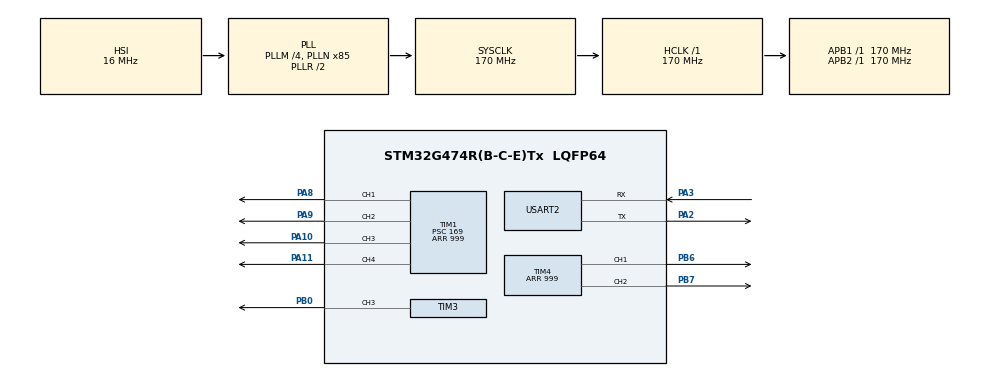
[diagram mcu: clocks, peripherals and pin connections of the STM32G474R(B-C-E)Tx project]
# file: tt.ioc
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Mcu.Family=STM32G4
Mcu.Name=STM32G474R(B-C-E)Tx
Mcu.Package=LQFP64
NVIC.PriorityGroup=NVIC_PRIORITYGROUP_4
NVIC.USART2_IRQn=true\:0\:0\:false\:false\:true\:true\:true\:true
PA10.Signal=S_TIM1_CH3
PA11.Signal=S_TIM1_CH4
PA13.GPIO_Label=T_SWDIO
PA13.Signal=SYS_JTMS-SWDIO
PA14.GPIO_Label=T_SWCLK
PA14.Signal=SYS_JTCK-SWCLK
PA2.Mode=Asynchronous
PA2.Signal=USART2_TX
PA3.Mode=Asynchronous
PA3.Signal=USART2_RX
PA8.Signal=S_TIM1_CH1
PA9.Signal=S_TIM1_CH2
PB0.Signal=S_TIM3_CH3
PB3.GPIO_Label=T_SWO
PB3.Signal=SYS_JTDO-SWO
PB6.Signal=S_TIM4_CH1
PB7.Signal=S_TIM4_CH2
PC14-OSC32_IN.GPIO_Label=RCC_OSC32_IN
PC14-OSC32_IN.Signal=RCC_OSC32_IN
PC15-OSC32_OUT.GPIO_Label=RCC_OSC32_OUT
PC15-OSC32_OUT.Signal=RCC_OSC32_OUT
PF0-OSC_IN.GPIO_Label=RCC_OSC_IN
PF0-OSC_IN.Mode=HSE-External-Oscillator
PF0-OSC_IN.Signal=RCC_OSC_IN
PF1-OSC_OUT.GPIO_Label=RCC_OSC_OUT
PF1-OSC_OUT.Mode=HSE-External-Oscillator
PF1-OSC_OUT.Signal=RCC_OSC_OUT
ProjectManager.HeapSize=0x200
ProjectManager.StackSize=0x400
ProjectManager.TargetToolchain=STM32CubeIDE
RCC.ADC12Freq_Value=170000000
RCC.ADC345Freq_Value=170000000
RCC.AHBFreq_Value=170000000
RCC.APB1Freq_Value=170000000
RCC.APB1TimFreq_Value=170000000
RCC.APB2Freq_Value=170000000
RCC.APB2TimFreq_Value=170000000
RCC.CortexFreq_Value=170000000
RCC.EXTERNAL_CLOCK_VALUE=12288000
RCC.HCLKFreq_Value=170000000
RCC.HSE_VALUE=24000000
RCC.HSI48_VALUE=48000000
RCC.HSI_VALUE=16000000
RCC.LSE_VALUE=32768
RCC.PLLM=RCC_PLLM_DIV4
RCC.PLLN=85
RCC.RTCClockSelection=RCC_RTCCLKSOURCE_LSE
RCC.SYSCLKFreq_VALUE=170000000
RCC.SYSCLKSource=RCC_SYSCLKSOURCE_PLLCLK
RCC.USBFreq_Value=170000000
RCC.VCOOutputFreq_Value=340000000
SH.S_TIM1_CH1.0=TIM1_CH1,Output Compare1 CH1
SH.S_TIM1_CH2.0=TIM1_CH2,Output Compare2 CH2
SH.S_TIM1_CH3.0=TIM1_CH3,Output Compare3 CH3
SH.S_TIM1_CH4.0=TIM1_CH4,Output Compare4 CH4
SH.S_TIM3_CH3.0=TIM3_CH3,PWM Generation3 CH3
SH.S_TIM4_CH1.0=TIM4_CH1,Output Compare1 CH1
SH.S_TIM4_CH2.0=TIM4_CH2,Output Compare2 CH2
TIM1.Channel-Output\ Compare1\ CH1=TIM_CHANNEL_1
TIM1.Channel-Output\ Compare2\ CH2=TIM_CHANNEL_2
TIM1.Channel-Output\ Compare3\ CH3=TIM_CHANNEL_3
TIM1.Channel-Output\ Compare4\ CH4=TIM_CHANNEL_4
TIM1.PeriodNoDither=999
TIM1.Prescaler=169
TIM3.Channel-PWM\ Generation3\ CH3=TIM_CHANNEL_3
TIM3.PeriodNoDither=999
TIM3.Prescaler=169
TIM4.Channel-Output\ Compare1\ CH1=TIM_CHANNEL_1
TIM4.Channel-Output\ Compare2\ CH2=TIM_CHANNEL_2
TIM4.PeriodNoDither=999
USART2.VirtualMode-Asynchronous=VM_ASYNC
VP_SYS_VS_DBSignals.Mode=DisableDeadBatterySignals
VP_TIM1_VS_ClockSourceINT.Mode=Internal
VP_TIM3_VS_ClockSourceINT.Mode=Internal
VP_TIM4_VS_ClockSourceINT.Mode=Internal
board=NUCLEO-G474RE

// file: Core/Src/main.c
/* USER CODE BEGIN Header */
/**
  ******************************************************************************
  * @file           : main.c
  * @brief          : Main program body for NUCLEO-G474RE Electronic Sparkler (Multi-Trigger + 5s Reset)
  ******************************************************************************
  */
/* USER CODE END Header */

#include "main.h"

TIM_HandleTypeDef htim1;
TIM_HandleTypeDef htim3;
TIM_HandleTypeDef htim4;

UART_HandleTypeDef huart2;

/* USER CODE BEGIN PV */
uint8_t rx_byte;                      // 宣告 UART 接收緩衝變數，用以儲存從序列埠讀取到的單一字元指令，原因在於接收中斷每次僅處理一個位元組
uint32_t led_pwm_val[7];              // 宣告 7 顆 LED 的當前 PWM 實質輸出亮度陣列（數值 0~1000），原因是用於在主迴圈中執行平滑漸變計算
uint32_t led_target_val[7];           // 宣告 7 顆 LED 的目標亮度陣列，原因是用以記錄點燃與燃燒消退時所要追隨的目標強度
uint8_t led_burn_state[7];            // 宣告 LED 燃燒狀態機陣列（0:未點燃/已碳化, 1:主燃燒/最亮, 2:次級燃燒/漸弱），原因是用於控制仙女棒擴散與消退邏輯
uint8_t led_carbonized[7];            // 宣告 LED 碳化旗標陣列（1表示已完全燃燒碳化），原因是用來模擬真實仙女棒碳化後無法再次點亮的物理特性
uint32_t carbonize_timer[7];          // 宣告碳化計時器陣列，原因是用以記錄各 LED 進入碳化狀態的時間點，以便計算 5 秒自動解除碳化
uint32_t tick_timer;                  // 宣告動畫時間戳變數，原因是用於記錄上一次更新燈光變化的時間點，實現不卡住系統的非阻塞式定時更新
uint32_t spread_timer;                // 宣告火花往兩側外擴的計時器變數，原因是用於控制仙女棒燃燒時向兩端延伸的擴散速度
uint8_t active_centers[7];            // 宣告多點燃燒中心陣列（記錄哪幾個位置被同時觸發點燃），原因是用於支援同時輸入多個位置同時外擴
uint8_t spread_radius[7];             // 宣告各個燃燒中心當前向兩側外擴的半徑距離陣列，原因是用於個別計算多點擴散進度
/* USER CODE END PV */

void SystemClock_Config(void);
static void MX_GPIO_Init(void);
static void MX_TIM1_Init(void);
static void MX_TIM3_Init(void);
static void MX_TIM4_Init(void);
static void MX_USART2_UART_Init(void);

int main(void)
{

  /* MCU Configuration--------------------------------------------------------*/

  /* Reset of all peripherals, Initializes the Flash interface and the Systick. */
  HAL_Init();

  /* Configure the system clock */
  SystemClock_Config();

  /* Initialize all configured peripherals */
  MX_GPIO_Init();
  MX_TIM1_Init();
  MX_TIM3_Init();
  MX_TIM4_Init();
  MX_USART2_UART_Init();

  /* USER CODE BEGIN 2 */
  HAL_TIM_PWM_Start(&htim1, TIM_CHANNEL_1); // 啟動計時器 1 通道 1 的 PWM 輸出，原因是要驅動實體電路中的第 1 顆 LED (PA8)
  HAL_TIM_PWM_Start(&htim1, TIM_CHANNEL_2); // 啟動計時器 1 通道 2 的 PWM 輸出，原因是要驅動實體電路中的第 2 顆 LED (PA9)
  HAL_TIM_PWM_Start(&htim1, TIM_CHANNEL_3); // 啟動計時器 1 通道 3 的 PWM 輸出，原因是要驅動實體電路中的第 3 顆 LED (PA10)
  HAL_TIM_PWM_Start(&htim1, TIM_CHANNEL_4); // 啟動計時器 1 通道 4 的 PWM 輸出，原因是要驅動實體電路中的第 4 顆 LED (PA11)
  HAL_TIM_PWM_Start(&htim4, TIM_CHANNEL_1); // 啟動計時器 4 通道 1 的 PWM 輸出，原因是要驅動實體電路中的第 5 顆 LED (PB6)
  HAL_TIM_PWM_Start(&htim4, TIM_CHANNEL_2); // 啟動計時器 4 通道 2 的 PWM 輸出，原因是要驅動實體電路中的第 6 顆 LED (PB7)
  HAL_TIM_PWM_Start(&htim3, TIM_CHANNEL_3); // 啟動計時器 3 通道 3 的 PWM 輸出，原因是要驅動實體電路中的第 7 顆 LED (PB0)
  HAL_UART_Receive_IT(&huart2, &rx_byte, 1); // 啟動 USART2 接收中斷模式，原因是要準備非同步接收來自使用者的單字元控制指令
  tick_timer = HAL_GetTick();           // 獲取當前系統啟動毫秒數並賦值給計時變數，原因是用於初始化動畫更新的時間基準點
  spread_timer = HAL_GetTick();         // 初始化外擴計時基準點，原因是用於控制火花向兩側蔓延的計時
  /* USER CODE END 2 */

  /* Infinite loop */
  while (1)
  {

    /* USER CODE BEGIN 3 */
    uint32_t current_tick = HAL_GetTick(); // 獲取當前系統時間毫秒數，原因是用於統一計算各個時間間隔以避免重複呼叫

    // 1. 改為 5 秒後自動解除碳化機制處理區段
    for (int i = 0; i < 7; i++)          // 迴圈遍歷所有 7 顆 LED，原因是要逐一檢查碳化狀態與計時
    {
      if (led_carbonized[i] == 1)        // 檢查該 LED 目前是否處於碳化狀態，原因是要判斷是否需要進行計時解除
      {
        if (current_tick - carbonize_timer[i] >= 5000) // 檢查自碳化起是否已過 5 秒（5000 毫秒），原因是要符合 5 秒後自動復亮的需求
        {
          led_carbonized[i] = 0;         // 將碳化旗標歸零解除碳化，原因是要讓該 LED 恢復可以再次被點亮的特性
        }
      }
    }

    // 2. 仙女棒多點同時點燃與向兩側外擴延伸機制
    if (current_tick - spread_timer >= 100) // 檢查是否已過 100 毫秒，原因是要控制火花向兩側蔓延的速度
    {
      spread_timer = current_tick;       // 更新外擴計時器時間點，原因是用於記錄本次向外擴散的時間

      for (int c = 0; c < 7; c++)        // 掃描所有可能的燃燒中心點，原因是要支援多個位置同時輸入與外擴
      {
        if (active_centers[c])           // 檢查該中心點是否處於活躍外擴狀態
        {
          int left_idx = c - spread_radius[c];  // 計算左側對應要點燃的 LED 索引位置，原因是要實現向左外擴
          int right_idx = c + spread_radius[c]; // 計算右側對應要點燃的 LED 索引位置，原因是要實現向右外擴

          uint8_t expanded = 0;          // 宣告本次半徑是否有成功點燃燈號的旗標

          if (left_idx >= 0 && !led_carbonized[left_idx]) // 檢查左側索引是否在範圍內且尚未碳化
          {
            led_burn_state[left_idx] = 1;    // 將左側對應 LED 設為主燃燒點（最亮），原因是要呈現火花向左外擴
            expanded = 1;
          }
          if (right_idx < 7 && !led_carbonized[right_idx]) // 檢查右側索引是否在範圍內且尚未碳化
          {
            led_burn_state[right_idx] = 1;   // 將右側對應 LED 設為主燃燒點（最亮），原因是要呈現火花向右外擴
            expanded = 1;
          }

          spread_radius[c]++;            // 將該中心的擴散半徑向外增加一格

          // 如果該中心的左右外擴已經超出燈條邊界，則關閉該中心的活動狀態
          if ((c - spread_radius[c] < 0) && (c + spread_radius[c] >= 7))
          {
            active_centers[c] = 0;       // 結束該點的外擴行程
          }
        }
      }
    }

    // 3. LED 亮度平滑漸變與碳化消退邏輯處理區段
    if (current_tick - tick_timer >= 25) // 檢查自上次更新以來是否已經過 25 毫秒，原因在於確保動畫更新頻率固定且視覺變化流暢
    {
      tick_timer = current_tick;        // 更新時間戳變數，原因是用記錄本次執行的時間點以供下次計算差值

      for (int i = 0; i < 7; i++)       // 使用迴圈逐一掃描並處理 7 顆 LED 的燃燒擴散與碳化消退狀態，原因是要統一管理全燈條狀態
      {
        if (led_burn_state[i] == 1)   // 檢查該顆 LED 是否處於剛點燃的主燃燒狀態，原因是要設定其達到最高亮度
        {
          led_target_val[i] = 1000;   // 將目標亮度設為最大值 1000（代表 100% 佔空比），原因是要呈現最亮狀態
          led_burn_state[i] = 2;      // 將狀態切換為次級燃燒階段，原因是要在下個週期開始執行漸弱遞減
        }
        else if (led_burn_state[i] == 2) // 檢查該顆 LED 是否處於燃燒消退階段，原因是要模擬仙女棒火花漸弱
        {
          if (led_target_val[i] > 100) // 檢查目標亮度是否仍高於碳化臨界點，原因是要確保亮度不會立刻歸零
          {
            led_target_val[i] -= 75;  // 穩步調降目標亮度數值，原因是要模擬仙女棒燃燒時能量逐漸消耗的過程
          }
          else                      // 若亮度已降至極低邊界，原因代表能量耗盡
          {
            led_target_val[i] = 0;    // 將目標亮度強制歸零，原因是要使 LED 完全熄滅
            led_burn_state[i] = 0;    // 關閉燃燒狀態標記，原因是要結束此顆 LED 的活躍行程
            led_carbonized[i] = 1;    // 將碳化旗標設為 1，原因是用來模擬真實仙女棒燃燒完碳化後無法再次點亮的物理特性
            carbonize_timer[i] = current_tick; // 記錄進入碳化的時間戳，原因是要啟動 5 秒自動解除碳化的計時
          }
        }

        if (led_pwm_val[i] < led_target_val[i]) // 檢查當前 PWM 亮度是否小於目標亮度，原因是要進行向上平滑遞增
        {
          led_pwm_val[i] += (led_target_val[i] - led_pwm_val[i]) / 3 + 1; // 運用比例追隨公式向上平滑調整，原因是要創造無段落感的呼吸燈效果
        }
        else if (led_pwm_val[i] > led_target_val[i]) // 檢查當前 PWM 亮度是否大於目標亮度，原因是要進行向下平滑遞減
        {
          led_pwm_val[i] -= (led_pwm_val[i] - led_target_val[i]) / 3 + 1; // 運用比例追隨公式向下平滑調整，原因是要讓熄滅或漸弱過程極為平順
        }
      }

      __HAL_TIM_SET_COMPARE(&htim1, TIM_CHANNEL_1, led_pwm_val[0]); // 將平滑計算後的 PWM 值寫入硬體暫存器，原因是用以控制第 1 顆 LED 亮度
      __HAL_TIM_SET_COMPARE(&htim1, TIM_CHANNEL_2, led_pwm_val[1]); // 將平滑計算後的 PWM 值寫入硬體暫存器，原因是用以控制第 2 顆 LED 亮度
      __HAL_TIM_SET_COMPARE(&htim1, TIM_CHANNEL_3, led_pwm_val[2]); // 將平滑計算後的 PWM 值寫入硬體暫存器，原因是用以控制第 3 顆 LED 亮度
      __HAL_TIM_SET_COMPARE(&htim1, TIM_CHANNEL_4, led_pwm_val[3]); // 將平滑計算後的 PWM 值寫入硬體暫存器，原因是用以控制第 4 顆 LED 亮度
      __HAL_TIM_SET_COMPARE(&htim4, TIM_CHANNEL_1, led_pwm_val[4]); // 將平滑計算後的 PWM 值寫入硬體暫存器，原因是用以控制第 5 顆 LED 亮度
      __HAL_TIM_SET_COMPARE(&htim4, TIM_CHANNEL_2, led_pwm_val[5]); // 將平滑計算後的 PWM 值寫入硬體暫存器，原因是用以控制第 6 顆 LED 亮度
      __HAL_TIM_SET_COMPARE(&htim3, TIM_CHANNEL_3, led_pwm_val[6]); // 將平滑計算後的 PWM 值寫入硬體暫存器，原因是用以控制第 7 顆 LED 亮度
    }
  }
  /* USER CODE END 3 */
}

void SystemClock_Config(void)
{
  RCC_OscInitTypeDef RCC_OscInitStruct = {0};
  RCC_ClkInitTypeDef RCC_ClkInitStruct = {0};

  /** Configure the main internal regulator output voltage
  */
  HAL_PWREx_ControlVoltageScaling(PWR_REGULATOR_VOLTAGE_SCALE1_BOOST);

  /** Initializes the RCC Oscillators according to the specified parameters
  * in the RCC_OscInitTypeDef structure.
  */
  RCC_OscInitStruct.OscillatorType = RCC_OSCILLATORTYPE_HSI;
  RCC_OscInitStruct.HSIState = RCC_HSI_ON;
  RCC_OscInitStruct.HSICalibrationValue = RCC_HSICALIBRATION_DEFAULT;
  RCC_OscInitStruct.PLL.PLLState = RCC_PLL_ON;
  RCC_OscInitStruct.PLL.PLLSource = RCC_PLLSOURCE_HSI;
  RCC_OscInitStruct.PLL.PLLM = RCC_PLLM_DIV4;
  RCC_OscInitStruct.PLL.PLLN = 85;
  RCC_OscInitStruct.PLL.PLLP = RCC_PLLP_DIV2;
  RCC_OscInitStruct.PLL.PLLQ = RCC_PLLQ_DIV2;
  RCC_OscInitStruct.PLL.PLLR = RCC_PLLR_DIV2;
  if (HAL_RCC_OscConfig(&RCC_OscInitStruct) != HAL_OK)
  {
    Error_Handler();
  }

  /** Initializes the CPU, AHB and APB buses clocks
  */
  RCC_ClkInitStruct.ClockType = RCC_CLOCKTYPE_HCLK|RCC_CLOCKTYPE_SYSCLK
                              |RCC_CLOCKTYPE_PCLK1|RCC_CLOCKTYPE_PCLK2;
  RCC_ClkInitStruct.SYSCLKSource = RCC_SYSCLKSOURCE_PLLCLK;
  RCC_ClkInitStruct.AHBCLKDivider = RCC_SYSCLK_DIV1;
  RCC_ClkInitStruct.APB1CLKDivider = RCC_HCLK_DIV1;
  RCC_ClkInitStruct.APB2CLKDivider = RCC_HCLK_DIV1;

  if (HAL_RCC_ClockConfig(&RCC_ClkInitStruct, FLASH_LATENCY_4) != HAL_OK)
  {
    Error_Handler();
  }
}

static void MX_TIM1_Init(void)
{
  TIM_ClockConfigTypeDef sClockSourceConfig = {0};
  TIM_MasterConfigTypeDef sMasterConfig = {0};
  TIM_OC_InitTypeDef sConfigOC = {0};
  TIM_BreakDeadTimeConfigTypeDef sBreakDeadTimeConfig = {0};

  htim1.Instance = TIM1;
  htim1.Init.Prescaler = 169;
  htim1.Init.CounterMode = TIM_COUNTERMODE_UP;
  htim1.Init.Period = 999;
  htim1.Init.ClockDivision = TIM_CLOCKDIVISION_DIV1;
  htim1.Init.RepetitionCounter = 0;
  htim1.Init.AutoReloadPreload = TIM_AUTORELOAD_PRELOAD_DISABLE;
  if (HAL_TIM_Base_Init(&htim1) != HAL_OK)
  {
    Error_Handler();
  }
  sClockSourceConfig.ClockSource = TIM_CLOCKSOURCE_INTERNAL;
  if (HAL_TIM_ConfigClockSource(&htim1, &sClockSourceConfig) != HAL_OK)
  {
    Error_Handler();
  }
  if (HAL_TIM_PWM_Init(&htim1) != HAL_OK)
  {
    Error_Handler();
  }
  sMasterConfig.MasterOutputTrigger = TIM_TRGO_RESET;
  sMasterConfig.MasterOutputTrigger2 = TIM_TRGO2_RESET;
  sMasterConfig.MasterSlaveMode = TIM_MASTERSLAVEMODE_DISABLE;
  if (HAL_TIMEx_MasterConfigSynchronization(&htim1, &sMasterConfig) != HAL_OK)
  {
    Error_Handler();
  }

  sConfigOC.OCMode = TIM_OCMODE_PWM1;
  sConfigOC.Pulse = 0;
  sConfigOC.OCPolarity = TIM_OCPOLARITY_HIGH;
  sConfigOC.OCNPolarity = TIM_OCNPOLARITY_HIGH;
  sConfigOC.OCFastMode = TIM_OCFAST_DISABLE;
  sConfigOC.OCIdleState = TIM_OCIDLESTATE_RESET;
  sConfigOC.OCNIdleState = TIM_OCNIDLESTATE_RESET;

  if (HAL_TIM_PWM_ConfigChannel(&htim1, &sConfigOC, TIM_CHANNEL_1) != HAL_OK) { Error_Handler(); }
  if (HAL_TIM_PWM_ConfigChannel(&htim1, &sConfigOC, TIM_CHANNEL_2) != HAL_OK) { Error_Handler(); }
  if (HAL_TIM_PWM_ConfigChannel(&htim1, &sConfigOC, TIM_CHANNEL_3) != HAL_OK) { Error_Handler(); }
  if (HAL_TIM_PWM_ConfigChannel(&htim1, &sConfigOC, TIM_CHANNEL_4) != HAL_OK) { Error_Handler(); }

  sBreakDeadTimeConfig.OffStateRunMode = TIM_OSSR_DISABLE;
  sBreakDeadTimeConfig.OffStateIDLEMode = TIM_OSSI_DISABLE;
  sBreakDeadTimeConfig.LockLevel = TIM_LOCKLEVEL_OFF;
  sBreakDeadTimeConfig.DeadTime = 0;
  sBreakDeadTimeConfig.BreakState = TIM_BREAK_DISABLE;
  sBreakDeadTimeConfig.BreakPolarity = TIM_BREAKPOLARITY_HIGH;
  sBreakDeadTimeConfig.BreakFilter = 0;
  sBreakDeadTimeConfig.BreakAFMode = TIM_BREAK_AFMODE_INPUT;
  sBreakDeadTimeConfig.Break2State = TIM_BREAK2_DISABLE;
  sBreakDeadTimeConfig.Break2Polarity = TIM_BREAK2POLARITY_HIGH;
  sBreakDeadTimeConfig.Break2Filter = 0;
  sBreakDeadTimeConfig.Break2AFMode = TIM_BREAK_AFMODE_INPUT;
  sBreakDeadTimeConfig.AutomaticOutput = TIM_AUTOMATICOUTPUT_DISABLE;
  if (HAL_TIMEx_ConfigBreakDeadTime(&htim1, &sBreakDeadTimeConfig) != HAL_OK)
  {
    Error_Handler();
  }
  HAL_TIM_MspPostInit(&htim1);
}

static void MX_TIM3_Init(void)
{
  TIM_ClockConfigTypeDef sClockSourceConfig = {0};
  TIM_MasterConfigTypeDef sMasterConfig = {0};
  TIM_OC_InitTypeDef sConfigOC = {0};

  htim3.Instance = TIM3;
  htim3.Init.Prescaler = 169;
  htim3.Init.CounterMode = TIM_COUNTERMODE_UP;
  htim3.Init.Period = 999;
  htim3.Init.ClockDivision = TIM_CLOCKDIVISION_DIV1;
  htim3.Init.AutoReloadPreload = TIM_AUTORELOAD_PRELOAD_DISABLE;
  if (HAL_TIM_Base_Init(&htim3) != HAL_OK)
  {
    Error_Handler();
  }
  sClockSourceConfig.ClockSource = TIM_CLOCKSOURCE_INTERNAL;
  if (HAL_TIM_ConfigClockSource(&htim3, &sClockSourceConfig) != HAL_OK)
  {
    Error_Handler();
  }
  if (HAL_TIM_PWM_Init(&htim3) != HAL_OK)
  {
    Error_Handler();
  }
  sMasterConfig.MasterOutputTrigger = TIM_TRGO_RESET;
  sMasterConfig.MasterSlaveMode = TIM_MASTERSLAVEMODE_DISABLE;
  if (HAL_TIMEx_MasterConfigSynchronization(&htim3, &sMasterConfig) != HAL_OK)
  {
    Error_Handler();
  }
  sConfigOC.OCMode = TIM_OCMODE_PWM1;
  sConfigOC.Pulse = 0;
  sConfigOC.OCPolarity = TIM_OCPOLARITY_HIGH;
  sConfigOC.OCFastMode = TIM_OCFAST_DISABLE;
  if (HAL_TIM_PWM_ConfigChannel(&htim3, &sConfigOC, TIM_CHANNEL_3) != HAL_OK)
  {
    Error_Handler();
  }
  HAL_TIM_MspPostInit(&htim3);
}

static void MX_TIM4_Init(void)
{
  TIM_ClockConfigTypeDef sClockSourceConfig = {0};
  TIM_MasterConfigTypeDef sMasterConfig = {0};
  TIM_OC_InitTypeDef sConfigOC = {0};

  htim4.Instance = TIM4;
  htim4.Init.Prescaler = 169;
  htim4.Init.CounterMode = TIM_COUNTERMODE_UP;
  htim4.Init.Period = 999;
  htim4.Init.ClockDivision = TIM_CLOCKDIVISION_DIV1;
  htim4.Init.AutoReloadPreload = TIM_AUTORELOAD_PRELOAD_DISABLE;
  if (HAL_TIM_Base_Init(&htim4) != HAL_OK)
  {
    Error_Handler();
  }
  sClockSourceConfig.ClockSource = TIM_CLOCKSOURCE_INTERNAL;
  if (HAL_TIM_ConfigClockSource(&htim4, &sClockSourceConfig) != HAL_OK)
  {
    Error_Handler();
  }
  if (HAL_TIM_PWM_Init(&htim4) != HAL_OK)
  {
    Error_Handler();
  }
  sMasterConfig.MasterOutputTrigger = TIM_TRGO_RESET;
  sMasterConfig.MasterSlaveMode = TIM_MASTERSLAVEMODE_DISABLE;
  if (HAL_TIMEx_MasterConfigSynchronization(&htim4, &sMasterConfig) != HAL_OK)
  {
    Error_Handler();
  }

  sConfigOC.OCMode = TIM_OCMODE_PWM1;
  sConfigOC.Pulse = 0;
  sConfigOC.OCPolarity = TIM_OCPOLARITY_HIGH;
  sConfigOC.OCFastMode = TIM_OCFAST_DISABLE;

  if (HAL_TIM_PWM_ConfigChannel(&htim4, &sConfigOC, TIM_CHANNEL_1) != HAL_OK) { Error_Handler(); }
  if (HAL_TIM_PWM_ConfigChannel(&htim4, &sConfigOC, TIM_CHANNEL_2) != HAL_OK) { Error_Handler(); }

  HAL_TIM_MspPostInit(&htim4);
}

static void MX_USART2_UART_Init(void)
{
  huart2.Instance = USART2;
  huart2.Init.BaudRate = 115200;
  huart2.Init.WordLength = UART_WORDLENGTH_8B;
  huart2.Init.StopBits = UART_STOPBITS_1;
  huart2.Init.Parity = UART_PARITY_NONE;
  huart2.Init.Mode = UART_MODE_TX_RX;
  huart2.Init.HwFlowCtl = UART_HWCONTROL_NONE;
  huart2.Init.OverSampling = UART_OVERSAMPLING_16;
  huart2.Init.OneBitSampling = UART_ONE_BIT_SAMPLE_DISABLE;
  huart2.Init.ClockPrescaler = UART_PRESCALER_DIV1;
  huart2.AdvancedInit.AdvFeatureInit = UART_ADVFEATURE_NO_INIT;
  if (HAL_UART_Init(&huart2) != HAL_OK)
  {
    Error_Handler();
  }
}

static void MX_GPIO_Init(void)
{
  __HAL_RCC_GPIOC_CLK_ENABLE();
  __HAL_RCC_GPIOF_CLK_ENABLE();
  __HAL_RCC_GPIOA_CLK_ENABLE();
  __HAL_RCC_GPIOB_CLK_ENABLE();
}

/* USER CODE BEGIN 4 */
void HAL_UART_RxCpltCallback(UART_HandleTypeDef *huart) // 定義 UART 接收完成中斷回調函數，原因在於當透過序列埠收到字元時會自動觸發此函式
{
  if (huart->Instance == USART2)                      // 檢查觸發中斷的是否為 USART2 序列埠，原因是要確保只處理正確的通訊介面
  {
    if (rx_byte >= '1' && rx_byte <= '7')         // 驗證接收到的字元是否在有效範圍 '1' 至 '7' 內，原因是要防止非法輸入造成陣列溢位
    {
      int index = rx_byte - '1';                // 將 ASCII 字元轉換為對應的 0 到 6 陣列索引值，原因是要對應 7 顆 LED 的陣列位置

      if (!led_carbonized[index])               // 檢查該 LED 是否尚未碳化，原因是要模擬真實仙女棒碳化後無法再次點亮的特性
      {
        active_centers[index] = 1;              // 標記該索引為一個活躍的燃燒中心點，原因是要支援同時輸入多個位置進行多點外擴
        spread_radius[index] = 0;               // 將該點的外擴半徑歸零從中心點開始，原因是要重新計算向兩側外擴的距離
        spread_timer = HAL_GetTick();           // 重設外擴計時基準點，原因是要確保觸發當下立即開始向兩側蔓延
      }
    }

    HAL_UART_Receive_IT(&huart2, &rx_byte, 1);    // 重新啟動 USART2 接收中斷，原因是要持續監聽並等待使用者輸入下一個序列埠指令
  }
}
/* USER CODE END 4 */

void Error_Handler(void)
{
  __disable_irq();
  while (1)
  {
  }
}
